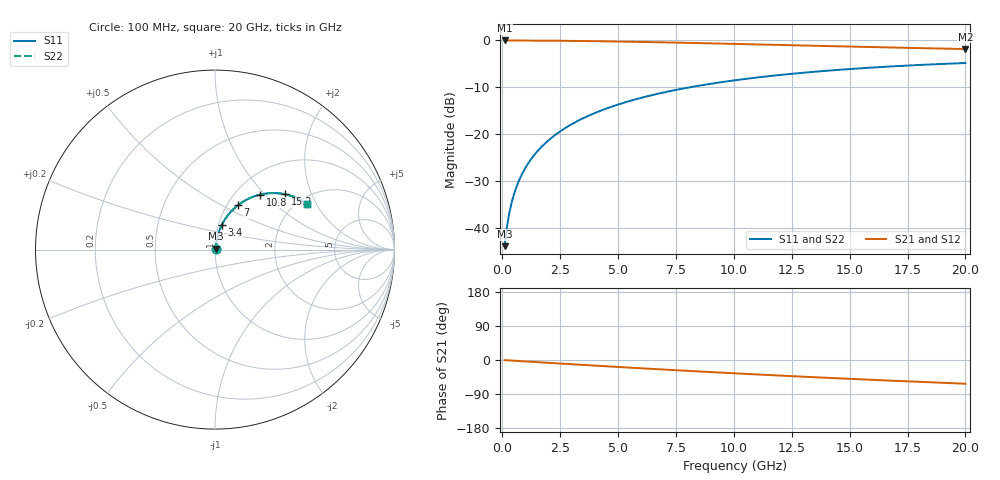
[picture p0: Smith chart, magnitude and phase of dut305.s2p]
! Touchstone file exported from HFSS 2026.1.0
!  File:  C:/ffzhzh/LocalFiles/Ansys_Project_Files/temp_train_TMRDL_305_1783003207_51716.aedt
!  Generated:  10:41:47 PM Jul  2, 2026
!  Design:  TMRDL
!  Project:  temp_train_TMRDL_305_1783003207_51716
! Variables:
!  h_bsmrdl = 2um
!  h_ox = 20um
!  h_rdl = 5um
!  h_sub = 80um
!  h_tmrdl = 4.03um
!  h_tsv = 80um
!  h_via = 3um
!  l_bsmrdl = 300um
!  l_sub = 1358.35um
!  l_tmrdl = 958.35um
!  m_sub = 200um
!  pitch = 56.31um
!  r_tsv = 6um
!  s_tmrdl = 10um
!  w_bsmrdl = 18um
!  w_sub = 500um
!  w_tmrdl = 19.42um
!  x_tsv_center1 = 968.06um
!  x_tsv_center2 = 1286.06um
!  x_tsv_center3 = 2263.83um
!  x_tsv_center4 = 2581.83um
!  x_tsv_center5 = 3559.6um
!  x_tsv_center6 = 3877.6um
# GHz S MA R 50.000000
! Terminal data exported
! Port[1] = TM_RDL1_1_T1
! Port[2] = TM_RDL1_1_T2
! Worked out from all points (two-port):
!   200 points, 100 MHz to 20 GHz, reference 50 ohm
!   highest |S21| = -0.04 dB at 100 MHz (marker M1); lowest = -1.9 dB at 20 GHz (marker M2)
!   |S21| within 3 dB of the highest: start of sweep to end of sweep
!   lowest |S11| = -43.9 dB at 100 MHz (marker M3), VSWR 1.01, Z = 50.4 + j0.46 ohm
!   |S11| at or under -10 dB: start of sweep to 8.121 GHz
!   |S22| runs from -43.9 to -4.8 dB; largest |S21 - S12| = 2e-15
!   S11 on the Smith chart (normalised r, x): 100 MHz: 1.01, +0.01; 3.4 GHz: 1.04, +0.29; 7 GHz: 1.12, +0.60; 10.8 GHz: 1.29, +0.93; 15.2 GHz: 1.61, +1.32; 20 GHz: 2.24, +1.68
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0.1  0.006394 45.5  0.9955 -0.4  0.9955 -0.4  0.006394 45.5
! Gamma 0 0 0 0
! Port Impedance 50 0 50 0
0.2  0.01019 62.2  0.9953 -0.8  0.9953 -0.8  0.01019 62.2
0.3  0.0143 69.2  0.9951 -1.2  0.9951 -1.2  0.0143 69.2
0.4  0.01847 72.8  0.9949 -1.5  0.9949 -1.5  0.01847 72.8
0.5  0.02265 75.1  0.9947 -1.9  0.9947 -1.9  0.02265 75.1
0.7  0.03107 77.6  0.9943 -2.7  0.9943 -2.7  0.03107 77.6
1  0.04377 79.1  0.9936 -3.8  0.9936 -3.8  0.04377 79.1
1.4  0.06074 79.4  0.9925 -5.3  0.9925 -5.3  0.06073 79.4
2  0.08607 78.4  0.9902 -7.5  0.9902 -7.5  0.08607 78.5
2.6  0.1111 76.9  0.9873 -9.7  0.9873 -9.7  0.1111 76.9
3.4  0.1439 74.5  0.9824 -12.7  0.9824 -12.7  0.1439 74.5
3.5  0.1479 74.1  0.9817 -13.0  0.9817 -13.0  0.1479 74.2
5  0.2066 69.2  0.9698 -18.4  0.9698 -18.4  0.2066 69.2
6.8  0.272 63.2  0.9522 -24.6  0.9522 -24.6  0.272 63.2
7  0.2789 62.6  0.95 -25.3  0.95 -25.3  0.2789 62.6
8.5  0.3283 57.8  0.9333 -30.3  0.9333 -30.3  0.3283 57.8
10.1  0.3763 52.8  0.9145 -35.4  0.9145 -35.4  0.3763 52.8
10.8  0.3958 50.7  0.9061 -37.5  0.9061 -37.5  0.3957 50.7
13.4  0.4601 43.2  0.875 -45.2  0.875 -45.2  0.46 43.2
15.2  0.4976 38.3  0.8544 -50.3  0.8544 -50.3  0.4975 38.3
16.7  0.5247 34.3  0.8382 -54.3  0.8382 -54.3  0.5247 34.4
20  0.5725 26.1  0.8069 -62.6  0.8069 -62.6  0.5725 26.2
